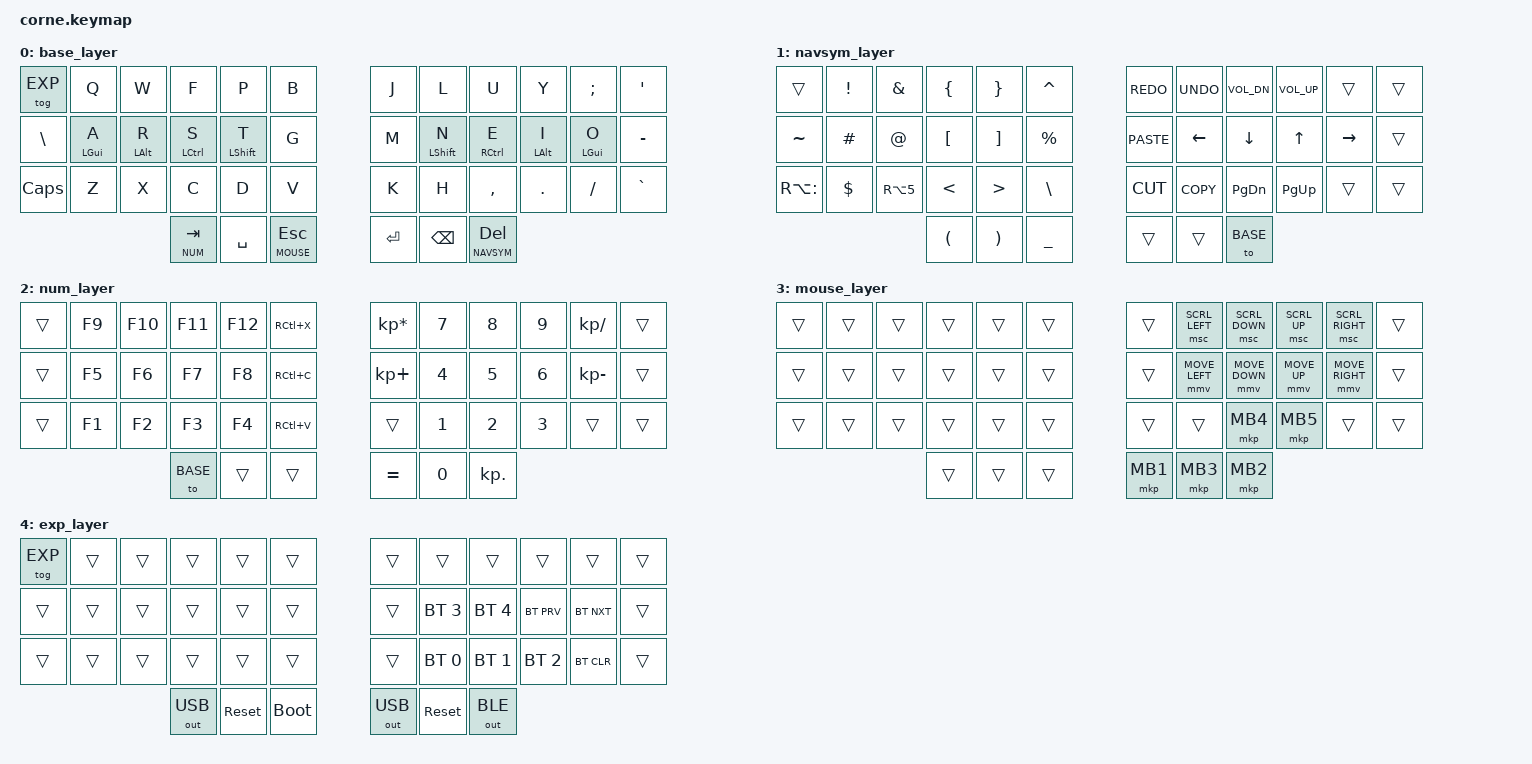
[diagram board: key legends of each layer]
/*
 * Copyright (c) 2020 The ZMK Contributors
 *
 * SPDX-License-Identifier: MIT
 */

#define ZMK_POINTING_DEFAULT_MOVE_VAL 600  // default: 600
#define ZMK_POINTING_DEFAULT_SCRL_VAL 10    // default: 10

#include <behaviors.dtsi>
#include <dt-bindings/zmk/keys.h>
#include <dt-bindings/zmk/bt.h>
#include <dt-bindings/zmk/outputs.h>
#include <dt-bindings/zmk/pointing.h>

#define BASE 0
#define NAVSYM 1
#define NUM 2
#define MOUSE 3
#define EXP 4

/ {
        Behaviors {
//            td_mt: tap_dance_mod_tap {
//                compatible = "zmk,behavior-tap-dance";
//                label = "TAP_DANCE_MOD_TAP";
//                #binding-cells = <0>;
//                tapping-term-ms = <200>;
//                bindings = <&mt LSHIFT CAPSLOCK>, <&kp LCTRL>;
//            };
//
//
//            td_ly: tap_dance_layer {
//                compatible = "zmk,behavior-tap-dance";
//                label = "TAP_DANCE_MO_LAYER";
//                #binding-cells = <0>;
//                tapping-term-ms = <200>;
//                bindings = <&mo>, <&to>;
//            };

	    hm: homerow_mods {
                compatible = "zmk,behavior-hold-tap";
                label = "HOMEROW_MODS";
                #binding-cells = <2>;
                tapping-term-ms = <150>;
                quick-tap-ms = <100>;
		global-quick-tap;
                flavor = "tap-preferred";
                bindings = <&kp>, <&kp>;
            };
        };

        keymap {
                compatible = "zmk,keymap";

                base_layer {
                      bindings = <
   &tog EXP      &kp Q         &kp W       &kp F         &kp P        &kp B             &kp J     &kp L        &kp U        &kp Y       &kp SEMI     &kp SQT
   &kp BSLH      &hm LGUI A    &hm LALT R  &hm LCTRL S   &hm LSHFT T  &kp G             &kp M     &hm LSHFT N  &hm RCTRL E  &hm LALT I  &hm LGUI O   &kp MINUS
   &kp CAPSLOCK  &kp Z         &kp X       &kp C         &kp D        &kp V             &kp K     &kp H        &kp COMMA    &kp DOT     &kp FSLH     &kp GRAVE
                                           &lt NUM TAB   &kp SPACE    &lt MOUSE ESC     &kp RET   &kp BSPC     &lt NAVSYM DEL
                        >;
                };

                navsym_layer {
                        bindings = <
   &trans         &kp EXCL  &kp AMPS    &kp LBRC  &kp RBRC  &kp CARET    &kp K_REDO   &kp K_UNDO  &kp C_VOL_DN  &kp C_VOL_UP  &trans     &trans
   &kp TILDE      &kp HASH  &kp AT      &kp LBKT  &kp RBKT  &kp PRCNT    &kp K_PASTE  &kp LEFT    &kp DOWN      &kp UP        &kp RIGHT  &trans
   &kp RA(COLON)  &kp DLLR  &kp RA(N5)  &kp LT    &kp GT    &kp BSLH     &kp K_CUT    &kp COPY    &kp PG_DN     &kp PG_UP     &trans     &trans
                                        &kp LPAR  &kp RPAR  &kp UNDER    &trans       &trans      &to BASE
                        >;
                };

                num_layer {
                        bindings = <
   &trans  &kp F9  &kp F10  &kp F11   &kp F12  &kp RC(X)      &kp KP_MULTIPLY  &kp N7  &kp N8      &kp N9  &kp KP_DIVIDE  &trans
   &trans  &kp F5  &kp F6   &kp F7    &kp F8   &kp RC(C)      &kp KP_PLUS      &kp N4  &kp N5      &kp N6  &kp KP_MINUS   &trans
   &trans  &kp F1  &kp F2   &kp F3    &kp F4   &kp RC(V)      &trans           &kp N1  &kp N2      &kp N3  &trans         &trans
                            &to BASE  &trans   &trans         &kp EQUAL        &kp N0  &kp KP_DOT
                        >;
		
                };

                mouse_layer {
                        bindings = <
   &trans  &trans  &trans  &trans  &trans  &trans    &trans    &msc SCRL_LEFT  &msc SCRL_DOWN  &msc SCRL_UP  &msc SCRL_RIGHT  &trans
   &trans  &trans  &trans  &trans  &trans  &trans    &trans    &mmv MOVE_LEFT  &mmv MOVE_DOWN  &mmv MOVE_UP  &mmv MOVE_RIGHT  &trans
   &trans  &trans  &trans  &trans  &trans  &trans    &trans    &trans          &mkp MB4        &mkp MB5      &trans           &trans
                           &trans  &trans  &trans    &mkp MB1  &mkp MB3        &mkp MB2
                        >;
                };

                exp_layer {
                        bindings = <
   &tog EXP  &trans  &trans  &trans        &trans      &trans         &trans        &trans        &trans        &trans        &trans      &trans
   &trans    &trans  &trans  &trans        &trans      &trans         &trans        &bt BT_SEL 3  &bt BT_SEL 4  &bt BT_PRV    &bt BT_NXT  &trans
   &trans    &trans  &trans  &trans        &trans      &trans         &trans        &bt BT_SEL 0  &bt BT_SEL 1  &bt BT_SEL 2  &bt BT_CLR  &trans
                             &out OUT_USB  &sys_reset  &bootloader    &out OUT_USB  &sys_reset    &out OUT_BLE
                        >;
                };

        };

        combos {
        compatible = "zmk,combos";
        combo_tab {
            timeout-ms = <50>;
            key-positions = <14 15 16>;
            bindings = <&kp TAB>;
        };

        combo_del {
            timeout-ms = <50>;
            key-positions = <19 20 21>;
            bindings = <&kp DEL>;
        };

        combo_esc {
            timeout-ms = <20>;
            key-positions = <15 16>;
            bindings = <&kp ESC>;
        };

        combo_RET {
            timeout-ms = <20>;
            key-positions = <20 21>;
            bindings = <&kp RET>;
        };

        combo_bspc {
            timeout-ms = <20>;
            key-positions = <19 20>;
            bindings = <&kp BSPC>;
        };

        combo_ae {
            timeout-ms = <50>;
            key-positions = <13 14>;
            bindings = <&kp RA(Q)>;
        };

        combo_oe {
            timeout-ms = <50>;
            key-positions = <21 22>;
            bindings = <&kp RA(P)>;
        };

        combo_ue {
            timeout-ms = <50>;
            key-positions = <8 9>;
            bindings = <&kp RA(Y)>;
        };

        combo_ss {
            timeout-ms = <50>;
            key-positions = <14 15>;
            bindings = <&kp RA(S)>;
        };
    };
};
